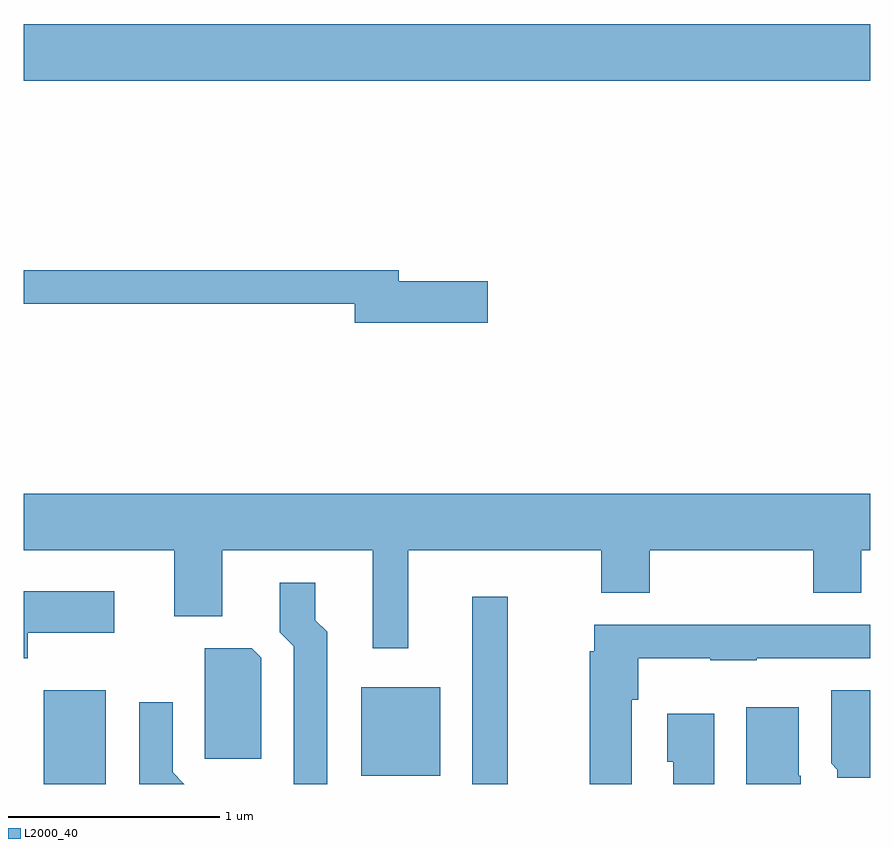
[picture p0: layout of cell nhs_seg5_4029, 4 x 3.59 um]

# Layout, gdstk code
import gdstk
lib = gdstk.Library(unit=1e-6, precision=1e-09)
def R(c, l, rs):  # rectangles x0, y0, x1, y1
    for r in rs: c.add(gdstk.rectangle(r[:2], r[2:], *l))
def P(c, l, *ps):  # polygons
    for p in ps: c.add(gdstk.Polygon(p, *l))
L2000_40 = (2000, 40)

nhs_seg5_4029 = lib.new_cell('nhs_seg5_4029')
R(nhs_seg5_4029, L2000_40, [(303.706,1520.072,303.999,1520.514), (305.731,1520.072,305.899,1520.958), (305.206,1520.111,305.579,1520.529), (303.611,1523.396,307.611,1523.664)])
P(nhs_seg5_4029, L2000_40, [(305.804,1522.449),(305.384,1522.449),(305.384,1522.499),(303.611,1522.499),(303.611,1522.341),(305.176,1522.341),(305.176,1522.251),(305.804,1522.251)],
  [(305.429,1521.176),(306.341,1521.176),(306.341,1520.976),(306.569,1520.976),(306.569,1521.176),(307.341,1521.176),(307.341,1520.976),(307.569,1520.976),(307.569,1521.176),(307.611,1521.176),(307.611,1521.444),(303.611,1521.444),(303.611,1521.176),(304.321,1521.176),(304.321,1520.866),(304.549,1520.866),(304.549,1521.176),(305.261,1521.176),(305.261,1520.713),(305.429,1520.713)],
  [(305.044,1520.792),(304.989,1520.847),(304.989,1521.023),(304.821,1521.023),(304.821,1520.789),(304.886,1520.724),(304.886,1520.072),(305.044,1520.072)],
  [(303.629,1520.786),(304.039,1520.786),(304.039,1520.984),(303.611,1520.984),(303.611,1520.666),(303.629,1520.666)],
  [(306.484,1520.471),(306.514,1520.471),(306.514,1520.666),(306.855,1520.666),(306.855,1520.656),(307.075,1520.656),(307.075,1520.666),(307.611,1520.666),(307.611,1520.824),(306.306,1520.824),(306.306,1520.699),(306.286,1520.699),(306.286,1520.072),(306.484,1520.072)],
  [(304.734,1520.669),(304.689,1520.714),(304.466,1520.714),(304.466,1520.191),(304.734,1520.191)],
  [(307.611,1520.514),(307.426,1520.514),(307.426,1520.169),(307.456,1520.139),(307.456,1520.101),(307.611,1520.101)],
  [(304.314,1520.127),(304.314,1520.458),(304.156,1520.458),(304.156,1520.072),(304.369,1520.072)],
  [(307.284,1520.11),(307.274,1520.11),(307.274,1520.434),(307.026,1520.434),(307.026,1520.072),(307.284,1520.072)],
  [(306.874,1520.404),(306.651,1520.404),(306.651,1520.176),(306.681,1520.176),(306.681,1520.072),(306.874,1520.072)])

lib.write_gds('nhs_seg5_4029.gds')
